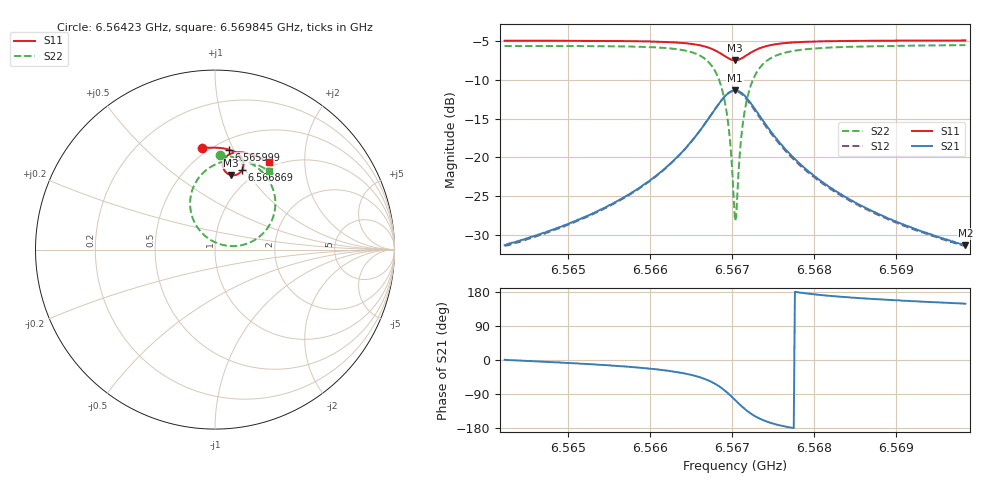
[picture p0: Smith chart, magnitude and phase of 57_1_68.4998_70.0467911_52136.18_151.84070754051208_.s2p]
#  HZ  S  RI  R  50.00
! Rohde & Schwarz Vector Network Analyzer
! Rohde-Schwarz,ZNB20-2Port,1311601062101988,3.16
! Created: UTC 3/20/2024, 5:06:13 PM
! freq[Hz]  re:S11  im:S11  re:S21  im:S21  re:S12  im:S12  re:S22  im:S22
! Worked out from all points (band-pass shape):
!   401 points, 6.56423 GHz to 6.569845 GHz, reference 50 ohm
!   highest |S21| = -11.33 dB at 6.567037 GHz (marker M1); lowest = -31.4 dB at 6.569845 GHz (marker M2)
!   |S21| within 3 dB of the highest: 6.566757 GHz to 6.567319 GHz (561.9 kHz wide, 0.00856 % of centre)
!   lowest |S11| = -7.4 dB at 6.567037 GHz (marker M3), VSWR 2.48, Z = 40.9 + j41.4 ohm
!   |S11| at or under -10 dB: nowhere
!   |S22| runs from -28.2 to -5.5 dB; largest |S21 - S12| = 0.012
!   S11 on the Smith chart (normalised r, x): 6.56423 GHz: 0.46, +0.77; 6.565999 GHz: 0.59, +0.96; 6.566869 GHz: 0.85, +0.97; 6.569845 GHz: 0.93, +1.34
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6.5642296e9  -0.0726 0.5643  0.0271 0.000303  0.0267 -0.000347  0.0266 0.5247
6.5651702e9  0.00384 0.5678  0.0399 -0.00698  0.0392 -0.00755  0.1141 0.5127
6.5659985e9  0.0798 0.5565  0.0653 -0.0276  0.0643 -0.0281  0.2173 0.4695
6.5661109e9  0.0914 0.5526  0.0713 -0.0338  0.0701 -0.0345  0.2358 0.4565
6.5664197e9  0.1262 0.5341  0.0917 -0.065  0.0903 -0.0662  0.2941 0.3948
6.5666303e9  0.1504 0.5065  0.105 -0.1128  0.1027 -0.115  0.3323 0.3027
6.5667707e9  0.1589 0.4735  0.0985 -0.1702  0.0942 -0.1733  0.3274 0.1929
6.566869e9  0.1508 0.4429  0.067 -0.2227  0.0598 -0.2255  0.272 0.0949
6.5669111e9  0.1407 0.4302  0.0415 -0.2439  0.0329 -0.2456  0.2258 0.0564
6.5669532e9  0.1265 0.4201  0.00846 -0.2596  -0.0018 -0.2597  0.1655 0.0289
6.5669813e9  0.1148 0.4157  -0.0171 -0.2655  -0.0282 -0.2638  0.1189 0.0204
6.5670234e9  0.0956 0.4142  -0.0584 -0.2647  -0.0697 -0.2601  0.0458 0.0253
6.5670375e9  0.0891 0.4152  -0.0722 -0.2616  -0.0831 -0.2562  0.0219 0.0321
6.5670656e9  0.0768 0.4195  -0.0984 -0.2516  -0.1083 -0.2443  -0.0228 0.0526
6.5671077e9  0.0611 0.4303  -0.1318 -0.2282  -0.1394 -0.2187  -0.0778 0.098
6.5671498e9  0.0503 0.4447  -0.1557 -0.1987  -0.1609 -0.1881  -0.1147 0.1528
6.567206e9  0.044 0.4659  -0.1724 -0.157  -0.1744 -0.1466  -0.137 0.2275
6.5672762e9  0.046 0.4894  -0.1751 -0.111  -0.1743 -0.102  -0.1332 0.3078
6.5675289e9  0.0844 0.5326  -0.1327 -0.0246  -0.1297 -0.0208  -0.037 0.4521
6.5679781e9  0.1453 0.5423  -0.0774 0.00826  -0.0756 0.00951  0.091 0.4969
6.5689188e9  0.2312 0.5202  -0.0373 0.0147  -0.0365 0.015  0.2207 0.4778
6.5698454e9  0.2988 0.4865  -0.023 0.0142  -0.0226 0.0143  0.2996 0.4401
